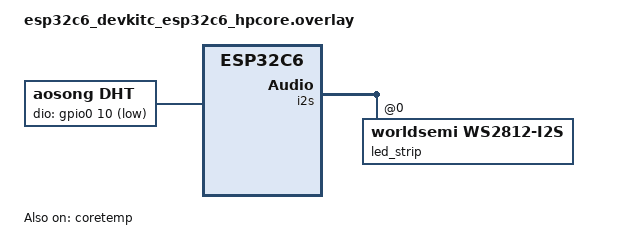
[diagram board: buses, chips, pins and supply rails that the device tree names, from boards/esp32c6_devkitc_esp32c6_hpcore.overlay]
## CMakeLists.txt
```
cmake_minimum_required(VERSION 3.20.0)

#set(BOARD esp32c6_devkitc/esp32c6/hpcore)

find_package(Zephyr REQUIRED HINTS $ENV{ZEPHYR_BASE})
project(esp32-zephyr)

target_include_directories(app PRIVATE include)
target_sources(app PRIVATE src/main.c src/internal_temp.c src/rgb_led.c src/ble_utils.c src/ble_services.c)
```

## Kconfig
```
menu "WS2812 Configuration"

config LED_UPDATE_DELAY
	int "Delay between LED updates in ms"
	default 50
	help
	  Delay between LED updates in ms.

config LED_BRIGHTNESS
	int "LED brightness"
	default 16
	range 1 255
	help
	  Brightness level of each LED. Defaults to a low value to make
	  it easier to distinguish colors.

endmenu

menu "Temp config"

config HIGH_TEMP
	int "High threshold temperature"
	default 29
	help 
		High threshold temperature

config LOW_TEMP
	int "Low threshold temperature"
	default 25
	help 
		Low threshold temperature

endmenu

menu "Bluetooth" 
	config SAMPLE_BT_USE_AUTHENTICATION
	bool "Enable passkey authentication"
	default y
	help
	  Enable the passkey authentication callback and register the GATT
	  read and write attributes as authentication required.

endmenu
source "Kconfig.zephyr"
```

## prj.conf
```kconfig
CONFIG_SYSTEM_WORKQUEUE_STACK_SIZE=2048
CONFIG_BT_RX_STACK_SIZE=2048

CONFIG_GPIO=y

CONFIG_EARLY_CONSOLE=y
#CONFIG_SHELL=y

# Don't log printk() statements, they're meant for raw output to the console.
CONFIG_LOG_PRINTK=n
CONFIG_LOG_MODE_IMMEDIATE=y
CONFIG_CBPRINTF_FP_SUPPORT=y


CONFIG_SENSOR=y

#CONFIG_ESP32_TEMP=y

CONFIG_DHT=y
CONFIG_DHT_LOCK_IRQS=y

CONFIG_LED_STRIP=y
CONFIG_LED_STRIP_LOG_LEVEL_DBG=y
CONFIG_BT=y
CONFIG_BT_PERIPHERAL=y
CONFIG_BT_HCI_ERR_TO_STR=y
CONFIG_BT_ATT_PREPARE_COUNT=5
CONFIG_BT_PRIVACY=y
CONFIG_BT_DEVICE_NAME="BLE"
CONFIG_BT_DEVICE_APPEARANCE=961
CONFIG_BT_SMP=y
CONFIG_BT_KEYS_OVERWRITE_OLDEST=y

CONFIG_BT_SETTINGS=y

CONFIG_SETTINGS=y
CONFIG_SETTINGS_NVS=y
CONFIG_NVS=y
CONFIG_FLASH=y
CONFIG_FLASH_MAP=y
CONFIG_MPU_ALLOW_FLASH_WRITE=y
```

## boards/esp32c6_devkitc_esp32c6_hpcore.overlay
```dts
#include <zephyr/dt-bindings/led/led.h>

/ {
    dht: dht {
        compatible = "aosong,dht";
        dio-gpios = <&gpio0 10 (GPIO_PULL_UP | GPIO_ACTIVE_LOW)>;
        status = "okay";
    };

    aliases {
        temp-sensor = &dht;
    };
};

/ {
	aliases {
		rgb-led = &led_strip;
	};
};

&i2s_default {
	group1 {
		pinmux = <I2S_O_SD_GPIO8>;
	};
};

i2s_led: &i2s {
	status = "okay";

	dmas = <&dma 3>;
	dma-names = "tx";

	led_strip: ws2812@0 {
		compatible = "worldsemi,ws2812-i2s";

		reg = <0>;
		chain-length = <1>;
		color-mapping = <LED_COLOR_ID_RED
				 LED_COLOR_ID_GREEN
				 LED_COLOR_ID_BLUE>;
		reset-delay = <500>;
	};

};

&dma {
	status = "okay";
};

/ {
    aliases {
        die-temp= &coretemp;
    };
};

&coretemp {
    status = "okay";
};

&gpio0 {
    status = "okay";
};
```

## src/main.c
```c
#include <zephyr/device.h>
#include <zephyr/drivers/sensor.h>
#include <zephyr/kernel.h>
#include <zephyr/sys/printk.h>

#include "internal_temp.h"
#include "rgb_led.h"

#if defined(CONFIG_BT_PERIPHERAL)
#include "ble_utils.h"
#include "ble_services.h"
#endif

static const struct device* const internal_temp_dev = DEVICE_DT_GET(DT_ALIAS(die_temp));
static const struct device* const temp_dev = DEVICE_DT_GET(DT_ALIAS(temp_sensor));
static const struct device* const rgb_led_dev = DEVICE_DT_GET(DT_ALIAS(rgb_led));

static double internal_temp = 0., temp = 0., old_temp = 0., hum = 0.;

static colors_t get_color_by_temp(double temp);
static void temp_changed(double actual_temp, double old_temp);

int main(void)
{
    printk("Hello\n");
    
    if (!device_is_ready(internal_temp_dev)) {
        printk("Temperature sensor is not ready\n");
        return 1;
    }
    if (!device_is_ready(temp_dev)) {
        printk("Temperature sensor is not ready\n");
        return 1;
    }
    if (!device_is_ready(rgb_led_dev)) {
        printk("RGB Led is not ready\n");
        return 1;
    }

    if (rgb_led_turn_on(rgb_led_dev, NONE)) {
        return 1;
    }

#if defined(CONFIG_BT_PERIPHERAL)
    bte_enable();
    start_adv();
#endif
    while (1) {
        if (get_internal_temp(internal_temp_dev, &internal_temp, true)) {
            return 1;
        }
        if (get_temp(temp_dev, &temp, true)) {
            return 1;
        }
        if (get_hum(temp_dev, &hum, false)) {
            return 1;
        }

        if (rgb_led_turn_on(rgb_led_dev, get_color_by_temp(temp))) {
            return 1;
        }
#if !defined(CONFIG_BT_PERIPHERAL)
        printk("Temperatura interna: %.1f ºC\n", internal_temp);
        printk("Temperatura: %.1f ºC\n", temp);
        printk("Humedad: %.1f \n", hum);
#else
        temp_changed(temp, old_temp);
        send_temp_notify(temp);
        send_hum_notify(hum);
#endif
        old_temp = temp;
        k_msleep(500);
    }
    return 0;
}

static void temp_changed(double actual_temp, double old_temp) 
{
    bool has_increased, has_decreased;
    has_increased = actual_temp > old_temp;
    has_decreased = actual_temp < old_temp;
    if (has_increased) {
        send_temp_state_indicate('+');
    } else if (has_decreased) {
        send_temp_state_indicate('-');
    } 
}

double prepare_ble_temp(void) {
    return temp;
}

double prepare_ble_hum(void) {
    return hum;
}

static colors_t get_color_by_temp(double temp) {
    if (temp <= CONFIG_LOW_TEMP) {
        return BLUE;
    }
    if (temp >= CONFIG_HIGH_TEMP) {
        return RED;
    }
    return GREEN;
}
```

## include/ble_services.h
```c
#include <zephyr/bluetooth/uuid.h>

#define BT_UUID_SERVICE_VAL \
	BT_UUID_128_ENCODE(0x10001523, 0x1212, 0xefde, 0x1523, 0x785feabcd123)

#define BT_UUID_TEMP_CHAR_VAL \
	BT_UUID_128_ENCODE(0x10001524, 0x1212, 0xefde, 0x1523, 0x785feabcd123)
	
#define BT_UUID_TEMP_UPDATE_CHAR_VAL \
	BT_UUID_128_ENCODE(0x10001524, 0x1213, 0xefde, 0x1523, 0x785feabcd123)

#define BT_UUID_HUM_CHAR_VAL \
  BT_UUID_128_ENCODE(0x10001525, 0x1212, 0xefde, 0x1523, 0x785feabcd123)

  
#define BT_UUID_SERVICE BT_UUID_DECLARE_128(BT_UUID_SERVICE_VAL)
#define BT_UUID_TEMP_CHAR BT_UUID_DECLARE_128(BT_UUID_TEMP_CHAR_VAL)
#define BT_UUID_TEMP_UPDATE_CHAR BT_UUID_DECLARE_128(BT_UUID_TEMP_UPDATE_CHAR_VAL)
#define BT_UUID_HUM_CHAR BT_UUID_DECLARE_128(BT_UUID_HUM_CHAR_VAL)

extern double prepare_ble_temp(void);
extern double prepare_ble_hum(void);

void ble_gatt_init(void);

int send_temp_state_indicate(char temp_state);
int send_temp_notify(double temp);
int send_hum_notify(double hum);
```

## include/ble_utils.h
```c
#include <zephyr/bluetooth/conn.h>

int bte_enable(void);
void start_adv(void);

void connected(struct bt_conn* conn, uint8_t err);
void disconnected(struct bt_conn* conn, uint8_t reason);
```

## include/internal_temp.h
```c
#include <zephyr/kernel.h>

int get_internal_temp(const struct device* internal_temp_dev, double* temp_pt, bool with_fetch);
int get_temp(const struct device* temp_dev, double* temp_pt, bool with_fetch);
int get_hum(const struct device* hum_dev, double* hum_pt, bool with_fetch);
```

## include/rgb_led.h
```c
#include <zephyr/sys/util.h>

typedef enum {
    NONE,
    RED,
    GREEN,
    BLUE
} colors_t;

int rgb_led_turn_on(const struct device* rgb_led_dev, colors_t color);
```

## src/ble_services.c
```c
#include <zephyr/bluetooth/bluetooth.h>
#include <zephyr/bluetooth/addr.h>
#include <zephyr/bluetooth/conn.h>
#include <zephyr/bluetooth/gatt.h>
#include <zephyr/bluetooth/hci.h>

#include "ble_services.h"

static int stored_value_temp, stored_value_hum;
static bool indicate_temp_enabled, notify_temp_enabled, notify_hum_enabled;

static struct bt_gatt_indicate_params ind_params;

extern double prepare_ble_temp(void);
extern double prepare_ble_hum(void);

static int get_temp_text(char * buffer, double temp) 
{
	stored_value_temp = (int) temp;
	sprintf(buffer, "%dC\n", stored_value_temp);
	return strlen(buffer);
}

static int get_hum_text(char * buffer, double hum) 
{
	stored_value_hum = (int) hum;
	sprintf(buffer, "%d%%\n", stored_value_hum);
	return strlen(buffer);
}

static ssize_t read_cb_temp(struct bt_conn *conn, const struct bt_gatt_attr *attr,
			   void *buf, uint16_t len, uint16_t offset)
{
    char value[100];
	int size;

	size = get_temp_text(value, prepare_ble_temp());
	return bt_gatt_attr_read(conn, attr, buf, len, offset, value, size);
}

static ssize_t read_cb_hum(struct bt_conn *conn, const struct bt_gatt_attr *attr,
			   void *buf, uint16_t len, uint16_t offset)
{
    char value[100];
	int size;

    size = get_hum_text(value, prepare_ble_hum());
	return bt_gatt_attr_read(conn, attr, buf, len, offset, value, size);
}

static void temp_update_ccc_cfg_changed(const struct bt_gatt_attr *attr, uint16_t value)
{
	indicate_temp_enabled = (value == BT_GATT_CCC_INDICATE);
}

static void temp_update_indicate_cb(struct bt_conn *conn, struct bt_gatt_indicate_params *params, uint8_t error) {
	printk("Indication %s\n", error != 0U ? "fail" : "successs");
}

static void temp_ccc_cfg_changed(const struct bt_gatt_attr *attr, uint16_t value)
{
	notify_temp_enabled = (value == BT_GATT_CCC_NOTIFY);
}

static void hum_ccc_cfg_changed(const struct bt_gatt_attr *attr, uint16_t value)
{
	notify_hum_enabled = (value == BT_GATT_CCC_NOTIFY);
}

#if CONFIG_SAMPLE_BT_USE_AUTHENTICATION && defined(CONFIG_BT_SMP)
/* Require encryption using authenticated link-key. */
#define SAMPLE_BT_PERM_READ BT_GATT_PERM_READ_AUTHEN
#define SAMPLE_BT_PERM_WRITE BT_GATT_PERM_WRITE_AUTHEN
#elif defined(CONFIG_BT_SMP)
/* Require encryption. */
#define SAMPLE_BT_PERM_READ BT_GATT_PERM_READ_ENCRYPT
#define SAMPLE_BT_PERM_WRITE BT_GATT_PERM_WRITE_ENCRYPT
#else 
#define SAMPLE_BT_PERM_READ BT_GATT_PERM_READ
#define SAMPLE_BT_PERM_WRITE BT_GATT_PERM_WRITE
#endif

BT_GATT_SERVICE_DEFINE(primary_service,
	BT_GATT_PRIMARY_SERVICE(BT_UUID_SERVICE),
	BT_GATT_CHARACTERISTIC(BT_UUID_TEMP_CHAR,
			       BT_GATT_CHRC_READ | BT_GATT_CHRC_NOTIFY,
			       SAMPLE_BT_PERM_READ,
			       read_cb_temp, NULL, NULL),
	BT_GATT_CCC(temp_ccc_cfg_changed, BT_GATT_PERM_READ | BT_GATT_PERM_WRITE),
	BT_GATT_CHARACTERISTIC(BT_UUID_TEMP_UPDATE_CHAR,
			       BT_GATT_CHRC_INDICATE,
			       SAMPLE_BT_PERM_READ,
			       NULL, NULL, NULL),
	BT_GATT_CCC(temp_update_ccc_cfg_changed, BT_GATT_PERM_READ | BT_GATT_PERM_WRITE),
	BT_GATT_CHARACTERISTIC(BT_UUID_HUM_CHAR,
			       BT_GATT_CHRC_READ | BT_GATT_CHRC_NOTIFY,
			       SAMPLE_BT_PERM_READ,
			       read_cb_hum, NULL, NULL),
	BT_GATT_CCC(hum_ccc_cfg_changed, BT_GATT_PERM_READ | BT_GATT_PERM_WRITE),
);

#define BT_GATT_SERVICE_FIND_BY_UUID(service, value) bt_gatt_find_by_uuid(service.attrs, service.attr_count, value)  

static struct bt_gatt_attr * temp_attr;
static struct bt_gatt_attr * temp_update_attr;
static struct bt_gatt_attr * hum_attr;

void ble_gatt_init(void) 
{
	temp_attr = BT_GATT_SERVICE_FIND_BY_UUID(primary_service, BT_UUID_TEMP_CHAR);
	temp_update_attr = BT_GATT_SERVICE_FIND_BY_UUID(primary_service, BT_UUID_TEMP_UPDATE_CHAR);
	hum_attr = BT_GATT_SERVICE_FIND_BY_UUID(primary_service, BT_UUID_HUM_CHAR);

	ind_params.attr = temp_update_attr;
	ind_params.func = temp_update_indicate_cb;
	ind_params.destroy = NULL;
}

int send_temp_state_indicate(char data) 
{
	if (!indicate_temp_enabled) {
		return -EACCES;
	}
	
	ind_params.data = &data;
	ind_params.len = sizeof(data);
	return bt_gatt_indicate(NULL, &ind_params);
}

int send_temp_notify(double temp) 
{
 	char value[100];
	int size;
    
	if (!notify_temp_enabled) {
		return -EACCES;
	}

	size = get_temp_text(value, temp);
	return bt_gatt_notify(NULL, temp_attr, value, size);
}


int send_hum_notify(double hum) 
{
 	char value[100];
	int size;

	if (!notify_hum_enabled) {
		return -EACCES;
	}
    
	size = get_hum_text(value, hum);
	return bt_gatt_notify(NULL, hum_attr, value, size);
}
```

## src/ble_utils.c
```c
#include <zephyr/bluetooth/bluetooth.h>
#include <zephyr/bluetooth/addr.h>
#include <zephyr/bluetooth/conn.h>
#include <zephyr/bluetooth/gatt.h>
#include <zephyr/bluetooth/hci.h>
#include <zephyr/bluetooth/uuid.h>
#if defined(CONFIG_REBOOT)
#include <zephyr/sys/reboot.h>
#endif
#include <zephyr/settings/settings.h>
#include "ble_services.h"

static const struct bt_data sd[] = {
    BT_DATA(BT_DATA_NAME_COMPLETE, CONFIG_BT_DEVICE_NAME, sizeof(CONFIG_BT_DEVICE_NAME) - 1),
};

static struct bt_data ad[] = {
    BT_DATA_BYTES(BT_DATA_FLAGS, (BT_LE_AD_GENERAL | BT_LE_AD_NO_BREDR)),
	BT_DATA_BYTES(BT_DATA_UUID16_ALL,
		      //BT_UUID_16_ENCODE(BT_UUID_HRS_VAL),
		      //BT_UUID_16_ENCODE(BT_UUID_BAS_VAL),
		      BT_UUID_16_ENCODE(BT_UUID_CTS_VAL)),
    BT_DATA(BT_DATA_NAME_COMPLETE, CONFIG_BT_DEVICE_NAME, sizeof(CONFIG_BT_DEVICE_NAME) - 1), // Device Name
	BT_DATA_BYTES(BT_DATA_UUID128_ALL, BT_UUID_SERVICE_VAL),
};


void start_adv(void)
{
    int err;

    err = bt_le_adv_start(BT_LE_ADV_CONN_FAST_1, ad, ARRAY_SIZE(ad), sd, ARRAY_SIZE(sd));
    if (err != 0) {
        printk("Advertising failed to start (err %d)\n", err);
        return;
    }

    printk("Advertising successfully started\n");
}

void connected(struct bt_conn* conn, uint8_t err)
{
    if (err) {
        printk("Connection failed, err 0x%02x %s\n", err, bt_hci_err_to_str(err));
    } else {
        printk("Connected\n");
    }
}

void disconnected(struct bt_conn* conn, uint8_t reason)
{
    printk("Disconnected, reason 0x%02x %s\n", reason, bt_hci_err_to_str(reason));
}

static void recycled(void)
{
	start_adv();
}

BT_CONN_CB_DEFINE(conn_callbacks) = {
    .connected = connected,
    .disconnected = disconnected,
    .recycled = recycled 
};

#if defined(CONFIG_BT_SMP)
static void auth_passkey_display(struct bt_conn *conn, unsigned int passkey)
{
	char addr[BT_ADDR_LE_STR_LEN];
	bt_addr_le_to_str(bt_conn_get_dst(conn), addr, sizeof(addr));
	printk("Passkey for %s: %06u\n", addr, passkey);
}

static void auth_cancel(struct bt_conn *conn)
{
	char addr[BT_ADDR_LE_STR_LEN];
	bt_addr_le_to_str(bt_conn_get_dst(conn), addr, sizeof(addr));
	printk("Pairing cancelled: %s\n", addr);
}


static struct bt_conn_auth_cb auth_cb_display = {
#if CONFIG_SAMPLE_BT_USE_AUTHENTICATION
	.passkey_display = auth_passkey_display,
#endif
    .cancel = auth_cancel,
};

void pairing_complete(struct bt_conn *conn, bool bonded)
{
#if defined(CONFIG_REBOOT)
	printk("Pairing completed. Rebooting in 5 seconds...\n");
	k_sleep(K_SECONDS(5));
	sys_reboot(SYS_REBOOT_WARM);
#else
    printk("Pairing completed.\n");
#endif
}

static void pairing_failed(struct bt_conn *conn, enum bt_security_err reason)
{
	char addr[BT_ADDR_LE_STR_LEN];
 
	bt_addr_le_to_str(bt_conn_get_dst(conn), addr, sizeof(addr));
 
	printk("Pairing failed, reason %d\n", reason);
}

static struct bt_conn_auth_info_cb bt_conn_auth_info = {
	.pairing_complete = pairing_complete,
    .pairing_failed = pairing_failed
};
#endif

int bte_enable(void)
{
    int err = bt_enable(NULL);
    if (err != 0) {
        printk("Enabling failed (err %d)\n", err);
        return err;
    }
    
    if (IS_ENABLED(CONFIG_SETTINGS)) {
        int a = settings_load();
        printk("Settings load status %d\n", a);
    }

#if defined(CONFIG_BT_SMP)
    bt_conn_auth_cb_register(&auth_cb_display);
    bt_conn_auth_info_cb_register(&bt_conn_auth_info);
#endif
    ble_gatt_init();
    
    return 0;
}
```

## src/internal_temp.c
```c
#include <zephyr/kernel.h>
#include <zephyr/drivers/sensor.h>
#include <zephyr/sys/printk.h>

static int get_data_sensor(const struct device * sensor_dev, enum sensor_channel chan, double * data_pt, bool with_fetch) {
    int rc;
    struct sensor_value val;

    if (with_fetch) {
        rc = sensor_sample_fetch(sensor_dev);
        if (rc) {
            printk("Failed to fetch sample (%d)\n", rc);
            return 1;
        }
    }

    rc = sensor_channel_get(sensor_dev, chan, &val);
    if (rc) {
        printk("Failed to get data (%d)\n", rc);
        return 1;
    }

    *data_pt = sensor_value_to_double(&val);
    return 0;
} 

int get_internal_temp(const struct device* internal_temp_dev, double* temp_pt, bool with_fetch)
{
    int err = get_data_sensor(internal_temp_dev, SENSOR_CHAN_DIE_TEMP, temp_pt, with_fetch);
    if (err) {
        return 1;
    }
    return 0;
}

int get_temp(const struct device* temp_dev, double* temp_pt, bool with_fetch)
{
    int err = get_data_sensor(temp_dev, SENSOR_CHAN_AMBIENT_TEMP, temp_pt, with_fetch);
    if (err) {
        return 1;
    }
    return 0;
}

int get_hum(const struct device* hum_dev, double* hum_pt, bool with_fetch)
{
    int err = get_data_sensor(hum_dev, SENSOR_CHAN_HUMIDITY, hum_pt, with_fetch);
    if (err) {
        return 1;
    }
    return 0;
}
```

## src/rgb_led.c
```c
#include <zephyr/sys/printk.h>
#include <zephyr/drivers/led_strip.h>

#include <zephyr/sys/util.h>
#include "rgb_led.h"

#define STRIP_NUM_PIXELS 1
#define RGB_SET(rgb_color, _r, _g, _b) rgb_color.r = (_r); rgb_color.g = (_g); rgb_color.b = (_b);

static struct led_rgb pixels[STRIP_NUM_PIXELS];

static struct led_rgb get_color(colors_t color) {
    struct led_rgb rgb_color; 
    switch (color)
    {
    case RED:
        RGB_SET(rgb_color, CONFIG_LED_BRIGHTNESS, 0x00, 0x00);
        break;
    case GREEN:
        RGB_SET(rgb_color, 0x00, CONFIG_LED_BRIGHTNESS, 0x00);
        break;
    case BLUE:
        RGB_SET(rgb_color, 0x00, 0x00, CONFIG_LED_BRIGHTNESS);
        break;
    default:
        RGB_SET(rgb_color, 0x00, 0x00, 0x00);
        break;
    }
    return rgb_color;
}

int rgb_led_turn_on(const struct device* rgb_led_dev, colors_t color) {
    int rc;

    struct led_rgb rgb_color = get_color(color);
    memset(&pixels, 0x00, sizeof(pixels));
	memcpy(&pixels[0], &rgb_color, sizeof(struct led_rgb));
    rc = led_strip_update_rgb(rgb_led_dev, pixels, STRIP_NUM_PIXELS);
    if (rc) {
        printk("couldn't update strip: %d\n", rc);
        return rc;
    }
    return 0;
}
```
